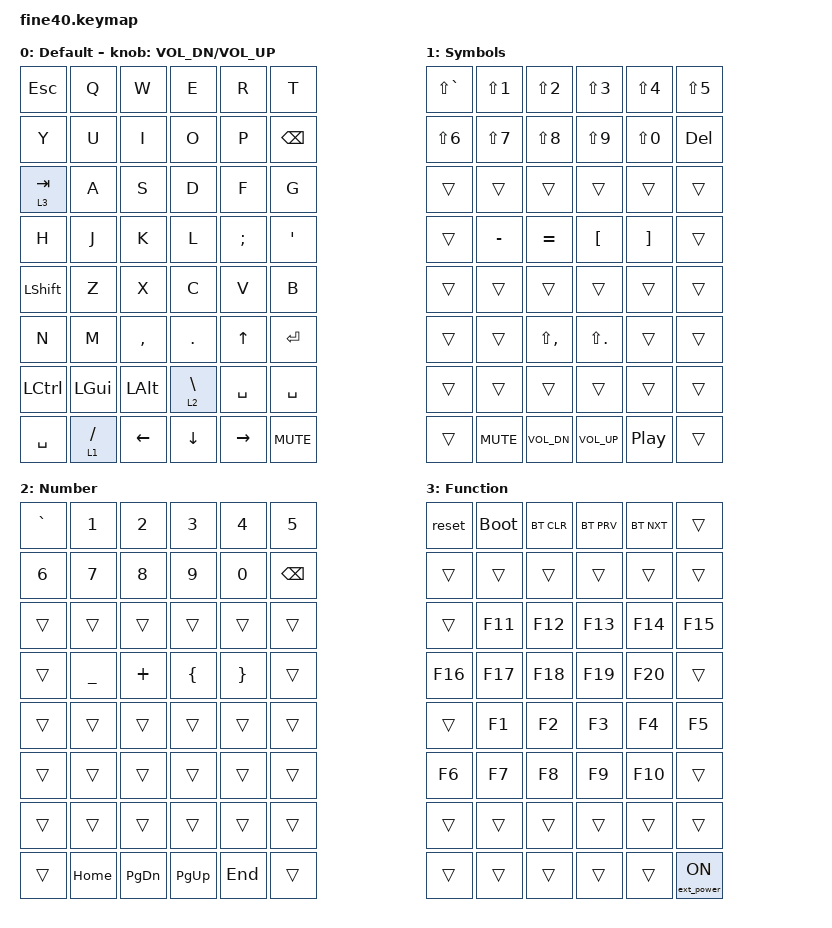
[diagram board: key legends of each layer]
/*
 * Aidan Smith (2021)
 *
 * SPDX-License-Identifier: MIT
 */

#include <behaviors.dtsi>
#include <dt-bindings/zmk/keys.h>
#include <dt-bindings/zmk/bt.h>
#include <dt-bindings/zmk/ext_power.h>

/ {
    keymap {
        compatible = "zmk,keymap";

        default_layer {
            label = "Default";
            bindings = <
  &kp ESC        &kp Q      &kp W       &kp E      &kp R       &kp T
    &kp Y        &kp U      &kp I       &kp O      &kp P    &kp BSPC
&lt 3 TAB        &kp A      &kp S       &kp D      &kp F       &kp G
    &kp H        &kp J      &kp K       &kp L   &kp SEMI     &kp SQT
&kp LSHFT        &kp Z      &kp X       &kp C      &kp V       &kp B
    &kp N        &kp M  &kp COMMA     &kp DOT     &kp UP     &kp RET
&kp LCTRL     &kp LGUI   &kp LALT  &lt 2 BSLH  &kp SPACE   &kp SPACE
&kp SPACE  &lt 1 SLASH   &kp LEFT    &kp DOWN  &kp RIGHT  &kp C_MUTE
            >;

            sensor-bindings = <&inc_dec_kp C_VOL_DN C_VOL_UP>;
        };

        right {
            label = "Symbols";
            bindings = <
&kp LS(GRAVE)  &kp LS(N1)     &kp LS(N2)    &kp LS(N3)  &kp LS(N4)  &kp LS(N5)
   &kp LS(N6)  &kp LS(N7)     &kp LS(N8)    &kp LS(N9)  &kp LS(N0)     &kp DEL
       &trans      &trans         &trans        &trans      &trans      &trans
       &trans   &kp MINUS      &kp EQUAL      &kp LBKT    &kp RBKT      &trans
       &trans      &trans         &trans        &trans      &trans      &trans
       &trans      &trans  &kp LS(COMMA)   &kp LS(DOT)      &trans      &trans
       &trans      &trans         &trans        &trans      &trans      &trans
       &trans  &kp C_MUTE   &kp C_VOL_DN  &kp C_VOL_UP    &kp C_PP      &trans
            >;
        };

        left {
            label = "Number";
            bindings = <
&kp GRAVE     &kp N1     &kp N2     &kp N3    &kp N4    &kp N5
   &kp N6     &kp N7     &kp N8     &kp N9    &kp N0  &kp BSPC
   &trans     &trans     &trans     &trans    &trans    &trans
   &trans  &kp UNDER   &kp PLUS   &kp LBRC  &kp RBRC    &trans
   &trans     &trans     &trans     &trans    &trans    &trans
   &trans     &trans     &trans     &trans    &trans    &trans
   &trans     &trans     &trans     &trans    &trans    &trans
   &trans   &kp HOME  &kp PG_DN  &kp PG_UP   &kp END    &trans
            >;
        };

        control {
            label = "Function";
            bindings = <
 &reset  &bootloader  &bt BT_CLR  &bt BT_PRV  &bt BT_NXT            &trans
 &trans       &trans      &trans      &trans      &trans            &trans
 &trans      &kp F11     &kp F12     &kp F13     &kp F14           &kp F15
&kp F16      &kp F17     &kp F18     &kp F19     &kp F20            &trans
 &trans       &kp F1      &kp F2      &kp F3      &kp F4            &kp F5
 &kp F6       &kp F7      &kp F8      &kp F9     &kp F10            &trans
 &trans       &trans      &trans      &trans      &trans            &trans
 &trans       &trans      &trans      &trans      &trans  &ext_power EP_ON
            >;
        };
    };
};
